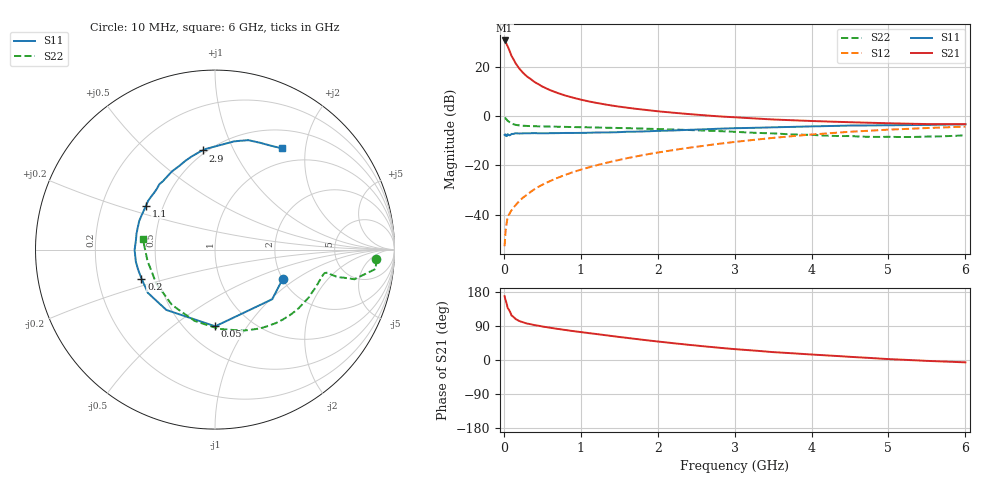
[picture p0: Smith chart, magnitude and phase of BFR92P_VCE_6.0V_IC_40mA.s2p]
! Infineon Technologies  Discrete & RF Semiconductors
! BFR92P
! VCE =  6.0 V,  IC =  40 mA
! Common Emitter S-Parameters:  Apr 2014
# GHz  S  MA  R  50
!  f  S11  S21  S12  S22
! GHz  MAG  ANG  MAG  ANG  MAG  ANG  MAG  ANG
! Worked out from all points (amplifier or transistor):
!   77 points, 10 MHz to 6 GHz, reference 50 ohm
!   highest |S21| = 30.6 dB at 10 MHz (marker M1)
!   |S21| within 3 dB of that: start of sweep to 58.38 MHz
!   unconditionally stable (mu >= 1): 129.7 MHz to 2.856 GHz
!   at 130 MHz: K = 1.00, MAG = 29.6 dB, |S12| = -37.0 dB
!   at 2.2 GHz: K = 1.09, MAG = 5.7 dB, |S12| = -13.9 dB
!   at 6 GHz: K = 0.97, MSG = 0.5 dB, |S12| = -4.3 dB
!   S11 on the Smith chart (normalised r, x): 10 MHz: 2.01, -0.79; 50 MHz: 0.69, -0.72; 200 MHz: 0.40, -0.16; 1.1 GHz: 0.40, +0.25; 2.9 GHz: 0.48, +0.76; 6 GHz: 0.76, +1.58
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0.01  0.4111 -23.3  33.7 168.4  0.0023 86.9  0.8984 -3.4
0.02  0.422 -40.9  32.66 159.8  0.0042 74.1  0.9026 -6.8
0.05  0.4274 -89.8  25.55 137.1  0.0089 65.0  0.7944 -12.0
0.1  0.4319 -128.9  16.36 117.4  0.0123 58.2  0.6958 -12.6
0.15  0.4449 -147.2  11.83 108.6  0.0154 61.8  0.6597 -12.1
0.2  0.4402 -158.5  9.127 102.8  0.0189 66.4  0.6416 -11.4
0.25  0.4429 -165.8  7.442 99.5  0.0222 69.4  0.6333 -11.8
0.3  0.446 -171.3  6.295 96.2  0.0252 72.3  0.6256 -12.0
0.4  0.448 -179.8  4.841 92.0  0.0329 74.9  0.6175 -13.3
0.5  0.4436 173.8  3.933 88.4  0.0403 77.3  0.613 -14.9
0.6  0.4462 168.6  3.332 85.2  0.0478 78.9  0.6074 -16.6
0.7  0.4479 163.6  2.906 82.1  0.0558 79.2  0.6032 -18.5
0.8  0.4514 159.2  2.581 79.2  0.0641 80.5  0.5989 -20.5
0.9  0.4514 154.8  2.337 76.3  0.0726 80.4  0.5941 -22.6
1.1  0.4553 147.5  1.971 71.1  0.0902 80.5  0.5872 -26.6
1.5  0.4686 133.8  1.54 60.8  0.1285 78.7  0.5689 -35.1
2.1  0.5014 116.0  1.2 46.7  0.1918 73.6  0.5366 -48.2
2.9  0.5567 97.1  0.957 30.5  0.2846 64.2  0.4837 -68.1
3.1  0.5669 93.2  0.918 27.2  0.3085 61.3  0.4676 -74.1
4.1  0.6172 78.4  0.779 13.3  0.4306 46.6  0.4042 -110.1
5.1  0.6479 66.0  0.704 1.5  0.5343 30.0  0.3746 -154.3
6  0.6756 56.7  0.68 -6.2  0.6079 15.7  0.4053 171.9
